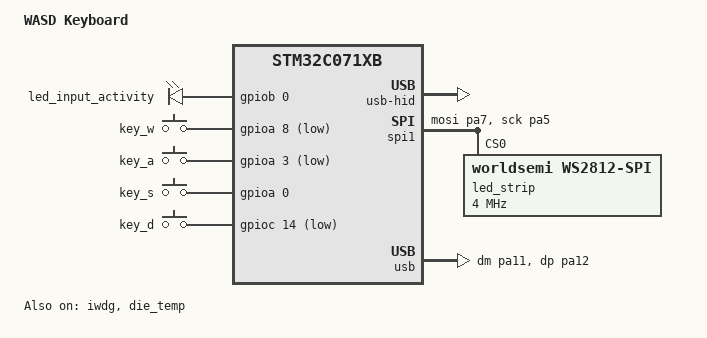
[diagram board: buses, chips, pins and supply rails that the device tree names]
/dts-v1/;
#include <st/c0/stm32c071Xb.dtsi>
#include <st/c0/stm32c071gbux-pinctrl.dtsi>
#include <zephyr/dt-bindings/input/input-event-codes.h>
#include <zephyr/dt-bindings/led/led.h>
#include <dt-bindings/hid.h>

/ {
	model = "WASD Keyboard";
	compatible = "balto,wasd-kbd";

	chosen {
		zephyr,sram = &sram0;
		zephyr,flash = &flash0;
	};

	leds {
		compatible = "gpio-leds";

		led_input_activity: led_a {
			gpios = <&gpiob 0 GPIO_ACTIVE_HIGH>;
		};
	};

	gpio_keys: gpio_keys {
		compatible = "gpio-keys";
		debounce-interval-ms = <1>;

		key_w {
			gpios = <&gpioa 8 (GPIO_ACTIVE_LOW | GPIO_PULL_UP)>;
			zephyr,code = <INPUT_KEY_W>;
		};
		key_a {
			gpios = <&gpioa 3 (GPIO_ACTIVE_LOW | GPIO_PULL_UP)>;
			zephyr,code = <INPUT_KEY_A>;
		};
		key_s {
			gpios = <&gpioa 0 GPIO_ACTIVE_HIGH>;
			zephyr,code = <INPUT_KEY_S>;
		};
		key_d {
			gpios = <&gpioc 14 (GPIO_ACTIVE_LOW | GPIO_PULL_UP)>;
			zephyr,code = <INPUT_KEY_D>;
		};
	};

	hid {
		compatible = "hid";
		input {
			hid-kbd {
				compatible = "hid-kbd";
				input = <&gpio_keys>;
				input-id = <1>;
				output-id = <1>;
				report = <HID_KBD_REPORT(1, 0)>;
			};
		};
		output {
			usb-hid {
				compatible = "usb-hid";
				usb-hid-dev = <&hid_dev_0>;
			};
		};
	};

	hid_dev_0: hid_dev_0 {
		compatible = "zephyr,hid-device";
		label = "HID0";
		protocol-code = "keyboard";
		in-report-size = <16>;
		in-polling-period-us = <2000>;
		out-report-size = <8>;
		out-polling-period-us = <5000>;
	};

	usb-wakeup {
		compatible = "usb-wakeup";
		input = <&gpio_keys>;
		key-codes = <INPUT_KEY_S>;
	};
};

&clk_hsi {
	status = "okay";
};

&clk_hsi48 {
	status = "okay";
	crs-usb-sof;
};

&rcc {
	clocks = <&clk_hsi>;
	clock-frequency = <DT_FREQ_M(48)>;
	ahb-prescaler = <1>;
	apb1-prescaler = <1>;
};

&iwdg {
	status = "okay";
};

&spi1 {
	pinctrl-0 = <&spi1_mosi_pa7 &spi1_sck_pa5>;
	pinctrl-names = "default";
	status = "okay";

	dmas = <&dmamux1 0 17 (STM32_DMA_PERIPH_TX | STM32_DMA_PRIORITY_LOW)>,
	       <&dmamux1 1 16 (STM32_DMA_PERIPH_RX | STM32_DMA_PRIORITY_LOW)>;
	dma-names = "tx", "rx";

	led_strip: ws2812@0 {
		compatible = "worldsemi,ws2812-spi";

		reg = <0>;
		spi-max-frequency = <4000000>;

		chain-length = <10>;
		color-mapping = <LED_COLOR_ID_GREEN
				 LED_COLOR_ID_RED
				 LED_COLOR_ID_BLUE>;
		spi-one-frame = <0x70>;
		spi-zero-frame = <0x40>;
	};
};

&dma1 {
	status = "okay";
};

&dmamux1 {
	status = "okay";
};

#if 0
zephyr_i2c: &i2c1 {
	pinctrl-0 = <&i2c1_scl_pb6 &i2c1_sda_pb7>;
	pinctrl-names = "default";
	status = "okay";
	clock-frequency = <I2C_BITRATE_FAST>;
};
#endif

&die_temp {
	status = "okay";
};

zephyr_udc0: &usb {
	clocks = <&rcc STM32_CLOCK(APB1, 13)>,
		 <&rcc STM32_SRC_HSI48 USB_SEL(0)>;

	pinctrl-0 = <&usb_dm_pa11 &usb_dp_pa12>;
	pinctrl-names = "default";
	status = "okay";
};
